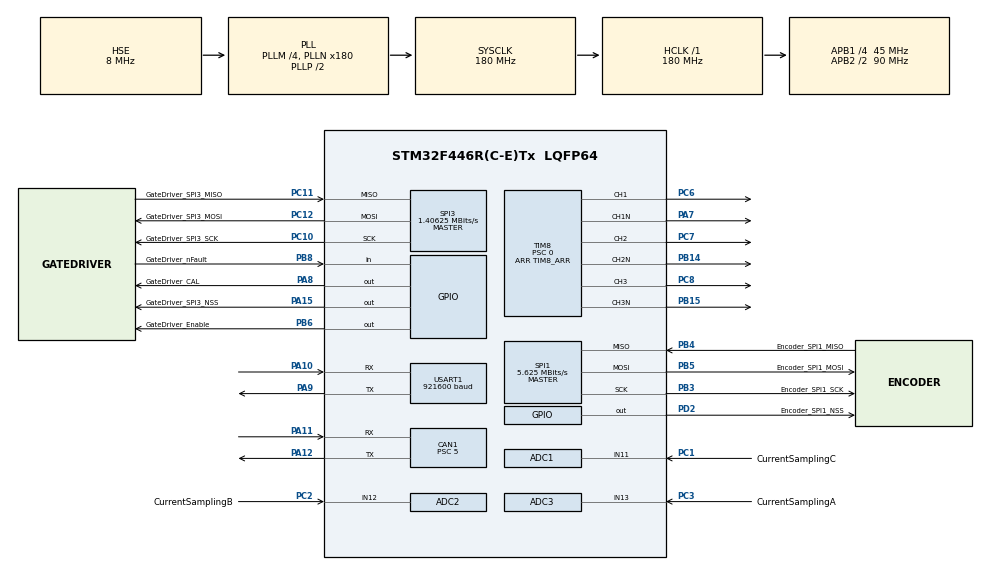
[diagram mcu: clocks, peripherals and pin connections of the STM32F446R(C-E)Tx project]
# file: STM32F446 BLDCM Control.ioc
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ADC1.Channel-23\#ChannelRegularConversion=ADC_CHANNEL_11
ADC1.Channel-25\#ChannelInjectedConversion=ADC_CHANNEL_11
ADC1.ClockPrescaler=ADC_CLOCK_SYNC_PCLK_DIV6
ADC1.ContinuousConvMode=DISABLE
ADC1.DMAContinuousRequests=DISABLE
ADC1.ExternalTrigConv=ADC_SOFTWARE_START
ADC1.ExternalTrigInjecConv=ADC_EXTERNALTRIGINJECCONV_T8_CC4
ADC1.InjNumberOfConversion=1
ADC1.InjectedConvMode=Discontinuous
ADC1.InjectedOffset-25\#ChannelInjectedConversion=0
ADC1.InjectedRank-25\#ChannelInjectedConversion=1
ADC1.Mode=__NULL
ADC1.NbrOfConversion=1
ADC1.NbrOfConversionFlag=1
ADC1.Rank-23\#ChannelRegularConversion=1
ADC1.SamplingTime-23\#ChannelRegularConversion=ADC_SAMPLETIME_3CYCLES
ADC1.SamplingTime-25\#ChannelInjectedConversion=ADC_SAMPLETIME_3CYCLES
ADC1.ScanConvMode=DISABLE
ADC1.master=1
ADC2.Channel-55\#ChannelRegularConversion=ADC_CHANNEL_12
ADC2.Channel-57\#ChannelInjectedConversion=ADC_CHANNEL_12
ADC2.ClockPrescaler=ADC_CLOCK_SYNC_PCLK_DIV6
ADC2.ContinuousConvMode=DISABLE
ADC2.DMAContinuousRequests=DISABLE
ADC2.ExternalTrigInjecConv=ADC_EXTERNALTRIGINJECCONV_T8_CC4
ADC2.InjNumberOfConversion=1
ADC2.InjectedConvMode=Discontinuous
ADC2.InjectedOffset-57\#ChannelInjectedConversion=0
ADC2.InjectedRank-57\#ChannelInjectedConversion=1
ADC2.NbrOfConversion=1
ADC2.NbrOfConversionFlag=1
ADC2.Rank-55\#ChannelRegularConversion=1
ADC2.SamplingTime-55\#ChannelRegularConversion=ADC_SAMPLETIME_3CYCLES
ADC2.SamplingTime-57\#ChannelInjectedConversion=ADC_SAMPLETIME_3CYCLES
ADC2.ScanConvMode=DISABLE
ADC3.Channel-10\#ChannelInjectedConversion=ADC_CHANNEL_13
ADC3.Channel-8\#ChannelRegularConversion=ADC_CHANNEL_13
ADC3.ClockPrescaler=ADC_CLOCK_SYNC_PCLK_DIV6
ADC3.ContinuousConvMode=DISABLE
ADC3.DMAContinuousRequests=DISABLE
ADC3.ExternalTrigInjecConv=ADC_EXTERNALTRIGINJECCONV_T8_CC4
ADC3.InjNumberOfConversion=1
ADC3.InjectedConvMode=Discontinuous
ADC3.InjectedOffset-10\#ChannelInjectedConversion=0
ADC3.InjectedRank-10\#ChannelInjectedConversion=1
ADC3.NbrOfConversion=1
ADC3.NbrOfConversionFlag=1
ADC3.Rank-8\#ChannelRegularConversion=1
ADC3.SamplingTime-10\#ChannelInjectedConversion=ADC_SAMPLETIME_3CYCLES
ADC3.SamplingTime-8\#ChannelRegularConversion=ADC_SAMPLETIME_3CYCLES
ADC3.ScanConvMode=DISABLE
CAN1.ABOM=ENABLE
CAN1.BS1=CAN_BS1_9TQ
CAN1.BS2=CAN_BS2_8TQ
CAN1.CalculateTimeQuantum=111.11111111111111
CAN1.NART=ENABLE
CAN1.Prescaler=5
Dma.Request0=USART1_TX
Dma.USART1_TX.0.Direction=DMA_MEMORY_TO_PERIPH
Dma.USART1_TX.0.FIFOMode=DMA_FIFOMODE_DISABLE
Dma.USART1_TX.0.Instance=DMA2_Stream7
Dma.USART1_TX.0.MemDataAlignment=DMA_MDATAALIGN_BYTE
Dma.USART1_TX.0.MemInc=DMA_MINC_ENABLE
Dma.USART1_TX.0.Mode=DMA_NORMAL
Dma.USART1_TX.0.PeriphDataAlignment=DMA_PDATAALIGN_BYTE
Dma.USART1_TX.0.PeriphInc=DMA_PINC_DISABLE
Dma.USART1_TX.0.Priority=DMA_PRIORITY_HIGH
Mcu.Family=STM32F4
Mcu.Name=STM32F446R(C-E)Tx
Mcu.Package=LQFP64
NVIC.ADC_IRQn=true\:0\:0\:false\:false\:false\:true\:true
NVIC.CAN1_RX0_IRQn=true\:0\:0\:false\:false\:true\:true\:true
NVIC.CAN1_RX1_IRQn=true\:0\:0\:false\:false\:true\:true\:true
NVIC.DMA2_Stream7_IRQn=true\:0\:0\:false\:false\:true\:false\:true
NVIC.PriorityGroup=NVIC_PRIORITYGROUP_4
NVIC.USART1_IRQn=true\:0\:0\:false\:false\:true\:true\:true
PA10.Mode=Asynchronous
PA10.Signal=USART1_RX
PA11.GPIO_PuPd=GPIO_PULLUP
PA11.Mode=Master
PA11.Signal=CAN1_RX
PA12.GPIO_PuPd=GPIO_NOPULL
PA12.Mode=Master
PA12.Signal=CAN1_TX
PA13.Mode=Serial_Wire
PA13.Signal=SYS_JTMS-SWDIO
PA14.Mode=Serial_Wire
PA14.Signal=SYS_JTCK-SWCLK
PA15.GPIO_Label=GateDriver_SPI3_NSS
PA15.GPIO_PuPd=GPIO_PULLUP
PA15.GPIO_Speed=GPIO_SPEED_FREQ_HIGH
PA15.PinState=GPIO_PIN_SET
PA15.Signal=GPIO_Output
PA7.GPIO_PuPd=GPIO_PULLDOWN
PA7.GPIO_Speed=GPIO_SPEED_FREQ_VERY_HIGH
PA7.Mode=PWM Generation1 CH1 CH1N
PA7.Signal=TIM8_CH1N
PA8.GPIO_Label=GateDriver_CAL
PA8.GPIO_PuPd=GPIO_PULLDOWN
PA8.Signal=GPIO_Output
PA9.Mode=Asynchronous
PA9.Signal=USART1_TX
PB14.GPIO_PuPd=GPIO_PULLDOWN
PB14.GPIO_Speed=GPIO_SPEED_FREQ_VERY_HIGH
PB14.Mode=PWM Generation2 CH2 CH2N
PB14.Signal=TIM8_CH2N
PB15.GPIO_PuPd=GPIO_PULLDOWN
PB15.GPIO_Speed=GPIO_SPEED_FREQ_VERY_HIGH
PB15.Mode=PWM Generation3 CH3 CH3N
PB15.Signal=TIM8_CH3N
PB3.GPIO_Label=Encoder_SPI1_SCK
PB3.GPIO_PuPd=GPIO_PULLDOWN
PB3.Mode=Full_Duplex_Master
PB3.Signal=SPI1_SCK
PB4.GPIO_Label=Encoder_SPI1_MISO
PB4.GPIO_PuPd=GPIO_PULLUP
PB4.Mode=Full_Duplex_Master
PB4.Signal=SPI1_MISO
PB5.GPIO_Label=Encoder_SPI1_MOSI
PB5.GPIO_PuPd=GPIO_PULLUP
PB5.Mode=Full_Duplex_Master
PB5.Signal=SPI1_MOSI
PB6.GPIO_Label=GateDriver_Enable
PB6.GPIO_ModeDefaultOutputPP=GPIO_MODE_OUTPUT_PP
PB6.GPIO_PuPd=GPIO_PULLDOWN
PB6.PinState=GPIO_PIN_RESET
PB6.Signal=GPIO_Output
PB8.GPIO_Label=GateDriver_nFault
PB8.GPIO_PuPd=GPIO_PULLUP
PB8.Signal=GPIO_Input
PC1.GPIO_Label=CurrentSamplingC
PC1.Signal=ADCx_IN11
PC10.GPIO_Label=GateDriver_SPI3_SCK
PC10.Mode=Full_Duplex_Master
PC10.Signal=SPI3_SCK
PC11.GPIO_Label=GateDriver_SPI3_MISO
PC11.Mode=Full_Duplex_Master
PC11.Signal=SPI3_MISO
PC12.GPIO_Label=GateDriver_SPI3_MOSI
PC12.Mode=Full_Duplex_Master
PC12.Signal=SPI3_MOSI
PC2.GPIO_Label=CurrentSamplingB
PC2.Signal=ADCx_IN12
PC3.GPIO_Label=CurrentSamplingA
PC3.Signal=ADCx_IN13
PC6.GPIO_PuPd=GPIO_PULLDOWN
PC6.GPIO_Speed=GPIO_SPEED_FREQ_VERY_HIGH
PC6.Signal=S_TIM8_CH1
PC7.GPIO_PuPd=GPIO_PULLDOWN
PC7.GPIO_Speed=GPIO_SPEED_FREQ_VERY_HIGH
PC7.Signal=S_TIM8_CH2
PC8.GPIO_PuPd=GPIO_PULLDOWN
PC8.GPIO_Speed=GPIO_SPEED_FREQ_VERY_HIGH
PC8.Signal=S_TIM8_CH3
PD2.GPIO_Label=Encoder_SPI1_NSS
PD2.GPIO_PuPd=GPIO_PULLUP
PD2.GPIO_Speed=GPIO_SPEED_FREQ_HIGH
PD2.PinState=GPIO_PIN_SET
PD2.Signal=GPIO_Output
PH0-OSC_IN.Mode=HSE-External-Oscillator
PH0-OSC_IN.Signal=RCC_OSC_IN
PH1-OSC_OUT.Mode=HSE-External-Oscillator
PH1-OSC_OUT.Signal=RCC_OSC_OUT
ProjectManager.HeapSize=0x200
ProjectManager.StackSize=0x400
ProjectManager.TargetToolchain=MDK-ARM V5.27
RCC.AHBFreq_Value=180000000
RCC.APB1CLKDivider=RCC_HCLK_DIV4
RCC.APB1Freq_Value=45000000
RCC.APB1TimFreq_Value=90000000
RCC.APB2CLKDivider=RCC_HCLK_DIV2
RCC.APB2Freq_Value=90000000
RCC.APB2TimFreq_Value=180000000
RCC.CortexFreq_Value=180000000
RCC.HCLKFreq_Value=180000000
RCC.HSE_VALUE=8000000
RCC.PLLM=4
RCC.PLLN=180
RCC.PLLSourceVirtual=RCC_PLLSOURCE_HSE
RCC.SYSCLKFreq_VALUE=180000000
RCC.SYSCLKSource=RCC_SYSCLKSOURCE_PLLCLK
RCC.USBFreq_Value=180000000
RCC.VCOOutputFreq_Value=360000000
SH.ADCx_IN11.0=ADC1_IN11,IN11
SH.ADCx_IN12.0=ADC2_IN12,IN12
SH.ADCx_IN13.0=ADC3_IN13,IN13
SH.S_TIM8_CH1.0=TIM8_CH1,PWM Generation1 CH1 CH1N
SH.S_TIM8_CH2.0=TIM8_CH2,PWM Generation2 CH2 CH2N
SH.S_TIM8_CH3.0=TIM8_CH3,PWM Generation3 CH3 CH3N
SPI1.BaudRatePrescaler=SPI_BAUDRATEPRESCALER_16
SPI1.CLKPhase=SPI_PHASE_2EDGE
SPI1.CalculateBaudRate=5.625 MBits/s
SPI1.DataSize=SPI_DATASIZE_16BIT
SPI1.Direction=SPI_DIRECTION_2LINES
SPI1.Mode=SPI_MODE_MASTER
SPI1.VirtualType=VM_MASTER
SPI3.BaudRatePrescaler=SPI_BAUDRATEPRESCALER_32
SPI3.CLKPhase=SPI_PHASE_2EDGE
SPI3.CalculateBaudRate=1.40625 MBits/s
SPI3.DataSize=SPI_DATASIZE_16BIT
SPI3.Direction=SPI_DIRECTION_2LINES
SPI3.Mode=SPI_MODE_MASTER
SPI3.VirtualType=VM_MASTER
TIM8.AutomaticOutput=TIM_AUTOMATICOUTPUT_ENABLE
TIM8.BreakPolarity=TIM_BREAKPOLARITY_LOW
TIM8.Channel-PWM\ Generation1\ CH1\ CH1N=TIM_CHANNEL_1
TIM8.Channel-PWM\ Generation2\ CH2\ CH2N=TIM_CHANNEL_2
TIM8.Channel-PWM\ Generation3\ CH3\ CH3N=TIM_CHANNEL_3
TIM8.Channel-PWM\ Generation4\ No\ Output=TIM_CHANNEL_4
TIM8.CounterMode=TIM_COUNTERMODE_CENTERALIGNED2
TIM8.DeadTime=0x00
TIM8.OCFastMode_PWM-PWM\ Generation1\ CH1\ CH1N=TIM_OCFAST_DISABLE
TIM8.OCFastMode_PWM-PWM\ Generation2\ CH2\ CH2N=TIM_OCFAST_DISABLE
TIM8.OCFastMode_PWM-PWM\ Generation3\ CH3\ CH3N=TIM_OCFAST_DISABLE
TIM8.Period=TIM8_ARR
TIM8.Prescaler=0
TIM8.Pulse-PWM\ Generation4\ No\ Output=ADC_TRIGGER_CCR
TIM8.TIM_MasterOutputTrigger=TIM_TRGO_RESET
TIM8.TIM_MasterSlaveMode=TIM_MASTERSLAVEMODE_DISABLE
USART1.BaudRate=921600
USART1.VirtualMode=VM_ASYNC
VP_TIM8_VS_ClockSourceINT.Mode=Internal
VP_TIM8_VS_no_output4.Mode=PWM Generation4 No Output
board=custom

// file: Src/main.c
/* USER CODE BEGIN Header */
/**
  ******************************************************************************
  * @file           : main.c
  * @brief          : Main program body
  ******************************************************************************
  ** This notice applies to any and all portions of this file
  * that are not between comment pairs USER CODE BEGIN and
  * USER CODE END. Other portions of this file, whether
  * inserted by the user or by software development tools
  * are owned by their respective copyright owners.
  *
  * COPYRIGHT(c) 2019 STMicroelectronics
  *
  * Redistribution and use in source and binary forms, with or without modification,
  * are permitted provided that the following conditions are met:
  *   1. Redistributions of source code must retain the above copyright notice,
  *      this list of conditions and the following disclaimer.
  *   2. Redistributions in binary form must reproduce the above copyright notice,
  *      this list of conditions and the following disclaimer in the documentation
  *      and/or other materials provided with the distribution.
  *   3. Neither the name of STMicroelectronics nor the names of its contributors
  *      may be used to endorse or promote products derived from this software
  *      without specific prior written permission.
  *
  * THIS SOFTWARE IS PROVIDED BY THE COPYRIGHT HOLDERS AND CONTRIBUTORS "AS IS"
  * AND ANY EXPRESS OR IMPLIED WARRANTIES, INCLUDING, BUT NOT LIMITED TO, THE
  * IMPLIED WARRANTIES OF MERCHANTABILITY AND FITNESS FOR A PARTICULAR PURPOSE ARE
  * DISCLAIMED. IN NO EVENT SHALL THE COPYRIGHT HOLDER OR CONTRIBUTORS BE LIABLE
  * FOR ANY DIRECT, INDIRECT, INCIDENTAL, SPECIAL, EXEMPLARY, OR CONSEQUENTIAL
  * DAMAGES (INCLUDING, BUT NOT LIMITED TO, PROCUREMENT OF SUBSTITUTE GOODS OR
  * SERVICES; LOSS OF USE, DATA, OR PROFITS; OR BUSINESS INTERRUPTION) HOWEVER
  * CAUSED AND ON ANY THEORY OF LIABILITY, WHETHER IN CONTRACT, STRICT LIABILITY,
  * OR TORT (INCLUDING NEGLIGENCE OR OTHERWISE) ARISING IN ANY WAY OUT OF THE USE
  * OF THIS SOFTWARE, EVEN IF ADVISED OF THE POSSIBILITY OF SUCH DAMAGE.
  *
  ******************************************************************************
  */
/* USER CODE END Header */

#include "main.h"
#include "adc.h"
#include "can.h"
#include "dma.h"
#include "spi.h"
#include "tim.h"
#include "usart.h"
#include "gpio.h"

/* USER CODE BEGIN Includes */
#include "foc.h"
#include "PositionSensor.h"
#include "control.h"
#include "GateDriver.h"
#include "MotorConfig.h"

/* USER CODE END Includes */

/* USER CODE BEGIN PV */
extern uint16_t DRV8323_SPI3_RxDataTemp;
extern struct Driver_t Driver;
extern struct  SpdLoop_t SpdLoop;
extern struct  MainCtrl_t MainCtrl;
/* USER CODE END PV */

void SystemClock_Config(void);

int main(void)
{
  /* USER CODE BEGIN 1 */

	Driver.UnitMode = WORK_MODE;	 //工作模式( WORK_MODE or MEASURE_ANGLE_TABLE_MODE or MEASURE_PARAM_MODE or MEASURE_INERTIA_MODE)

  /* USER CODE END 1 */

  /* MCU Configuration--------------------------------------------------------*/

  /* Reset of all peripherals, Initializes the Flash interface and the Systick. */
  HAL_Init();

  /* Configure the system clock */
  SystemClock_Config();

  /* Initialize all configured peripherals */
  MX_GPIO_Init();
  MX_DMA_Init();
  MX_TIM8_Init();
  MX_SPI1_Init();
  MX_SPI3_Init();
  MX_CAN1_Init();
  MX_USART1_UART_Init();
  MX_ADC1_Init();
  MX_ADC2_Init();
  MX_ADC3_Init();
  /* USER CODE BEGIN 2 */
//  MX_TIM4_Init();

	LL_mDelay(500);

	SPI_Enable();

	UART_Enable();

	TIM_Enable();

	GateDriverConfig();

	LL_mDelay(100);

	DriverInit();

	LL_mDelay(100);

	CAN_Enable();

	switch(Driver.UnitMode)
	{
		case WORK_MODE : ADC_CMD(ENABLE);	//使能ADC, 包括中断

						break;

		case MEASURE_ANGLE_TABLE_MODE : CorrectPosOffset_Encoder(0.6f);	//测量电角度偏移量

						break;

		case MEASURE_PARAM_MODE : ADC_CMD(ENABLE);

						break;
		case MEASURE_INERTIA_MODE : ADC_CMD(ENABLE);

						break;
	}

  /* USER CODE END 2 */
	float omg=0;
	uint8_t fl=0;
  /* Infinite loop */
  while (1)
  {

    /* USER CODE BEGIN 3 */
//	  if(fl==0)
//	  {omg+=1;
//		  if(omg>10)
//			  fl=1;
//	  }
//	  if(fl==1)
//	  {omg-=1;
//		  if(omg<-10)
//			  fl=0;
//	  }
//	  SpdLoop.ExptMecAngularSpeed_rad = (float)omg * 50.f * PI;

//	 SpdLoop.ExptMecAngularSpeed_rad = 50.f * 2.f * PI;
//
//	  LL_mDelay(1000);
//
//	  SpdLoop.ExptMecAngularSpeed_rad = 30.f * 2.f * PI;
//
//	  LL_mDelay(200);
//
//	  SpdLoop.ExptMecAngularSpeed_rad = 50.f * 2.f * PI;
//
//	  LL_mDelay(5000);
//	  MainCtrl.ExptMecAngle_pulse = 20000;
//
//	  LL_mDelay(1000);
//
//	  MainCtrl.ExptMecAngle_pulse = 0;

//	  LL_mDelay(1000);

  }
  /* USER CODE END 3 */
}

void SystemClock_Config(void)
{
  RCC_OscInitTypeDef RCC_OscInitStruct = {0};
  RCC_ClkInitTypeDef RCC_ClkInitStruct = {0};

  /** Configure the main internal regulator output voltage
  */
  __HAL_RCC_PWR_CLK_ENABLE();
  __HAL_PWR_VOLTAGESCALING_CONFIG(PWR_REGULATOR_VOLTAGE_SCALE1);
  /** Initializes the CPU, AHB and APB busses clocks
  */
  RCC_OscInitStruct.OscillatorType = RCC_OSCILLATORTYPE_HSE;
  RCC_OscInitStruct.HSEState = RCC_HSE_ON;
  RCC_OscInitStruct.PLL.PLLState = RCC_PLL_ON;
  RCC_OscInitStruct.PLL.PLLSource = RCC_PLLSOURCE_HSE;
  RCC_OscInitStruct.PLL.PLLM = 4;
  RCC_OscInitStruct.PLL.PLLN = 180;
  RCC_OscInitStruct.PLL.PLLP = RCC_PLLP_DIV2;
  RCC_OscInitStruct.PLL.PLLQ = 2;
  RCC_OscInitStruct.PLL.PLLR = 2;
  if (HAL_RCC_OscConfig(&RCC_OscInitStruct) != HAL_OK)
  {
    Error_Handler();
  }
  /** Activate the Over-Drive mode
  */
  if (HAL_PWREx_EnableOverDrive() != HAL_OK)
  {
    Error_Handler();
  }
  /** Initializes the CPU, AHB and APB busses clocks
  */
  RCC_ClkInitStruct.ClockType = RCC_CLOCKTYPE_HCLK|RCC_CLOCKTYPE_SYSCLK
                              |RCC_CLOCKTYPE_PCLK1|RCC_CLOCKTYPE_PCLK2;
  RCC_ClkInitStruct.SYSCLKSource = RCC_SYSCLKSOURCE_PLLCLK;
  RCC_ClkInitStruct.AHBCLKDivider = RCC_SYSCLK_DIV1;
  RCC_ClkInitStruct.APB1CLKDivider = RCC_HCLK_DIV4;
  RCC_ClkInitStruct.APB2CLKDivider = RCC_HCLK_DIV2;

  if (HAL_RCC_ClockConfig(&RCC_ClkInitStruct, FLASH_LATENCY_5) != HAL_OK)
  {
    Error_Handler();
  }
}

void Error_Handler(void)
{
}

/************************ (C) COPYRIGHT STMicroelectronics *****END OF FILE****/
